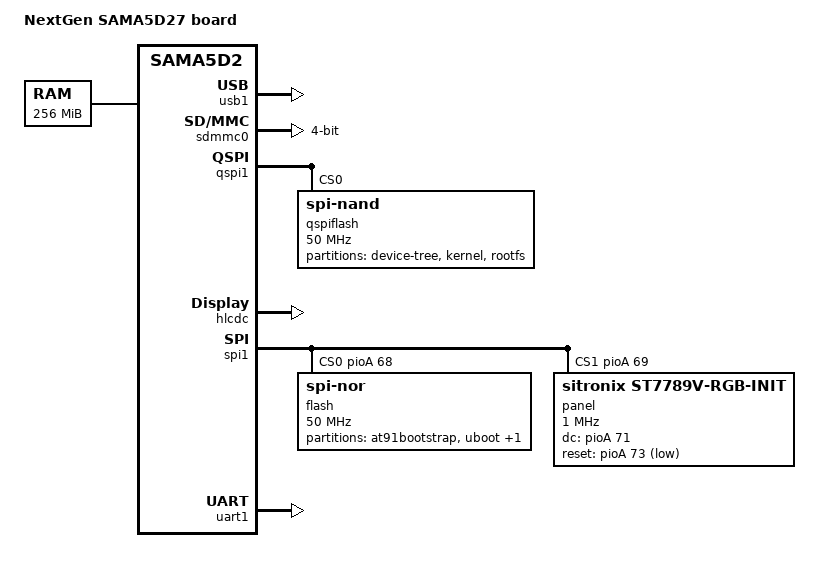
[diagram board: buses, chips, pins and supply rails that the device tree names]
/*
* at91-sama5d27_som1_ek.dts - Device Tree file for SAMA5D27 SOM1 EK board
*
*  Copyright (C) 2017 Microchip Corporation
*                     Wenyou Yang <wenyou.yang@microchip.com>
*
* This file is dual-licensed: you can use it either under the terms
* of the GPL or the X11 license, at your option. Note that this dual
* licensing only applies to this file, and not this project as a
* whole.
*
*  a) This file is free software; you can redistribute it and/or
*     modify it under the terms of the GNU General Public License as
*     published by the Free Software Foundation; either version 2 of the
*     License, or (at your option) any later version.
*
*     This file is distributed in the hope that it will be useful,
*     but WITHOUT ANY WARRANTY; without even the implied warranty of
*     MERCHANTABILITY or FITNESS FOR A PARTICULAR PURPOSE.  See the
*     GNU General Public License for more details.
*
* Or, alternatively,
*
*  b) Permission is hereby granted, free of charge, to any person
*     obtaining a copy of this software and associated documentation
*     files (the "Software"), to deal in the Software without
*     restriction, including without limitation the rights to use,
*     copy, modify, merge, publish, distribute, sublicense, and/or
*     sell copies of the Software, and to permit persons to whom the
*     Software is furnished to do so, subject to the following
*     conditions:
*
*     The above copyright notice and this permission notice shall be
*     included in all copies or substantial portions of the Software.
*
*     THE SOFTWARE IS PROVIDED "AS IS", WITHOUT WARRANTY OF ANY KIND,
*     EXPRESS OR IMPLIED, INCLUDING BUT NOT LIMITED TO THE WARRANTIES
*     OF MERCHANTABILITY, FITNESS FOR A PARTICULAR PURPOSE AND
*     NONINFRINGEMENT. IN NO EVENT SHALL THE AUTHORS OR COPYRIGHT
*     HOLDERS BE LIABLE FOR ANY CLAIM, DAMAGES OR OTHER LIABILITY,
*     WHETHER IN AN ACTION OF CONTRACT, TORT OR OTHERWISE, ARISING
*     FROM, OUT OF OR IN CONNECTION WITH THE SOFTWARE OR THE USE OR
*     OTHER DEALINGS IN THE SOFTWARE.
*/
/dts-v1/;
#include <dt-bindings/gpio/gpio.h>
#include "sama5d27_som1.dtsi"

/ {
	model = "NextGen SAMA5D27 board";
	compatible = "nextgen,sama5d27-nextgen","atmel,sama5d27-som1-ek", "atmel,sama5d2", "atmel,sama5";
	
	aliases {
		spi1 = &spi1;
		qspi1 = &qspi1;
		i2c0 = &i2c0;
		i2c1 = &i2c1;
		
	};
	
	chosen {
		bootph-all;
		stdout-path = &uart1;
	};
	
	memory {
		reg = <0x20000000 0x10000000>;
	};
	
	ahb {
		usb1: ohci@400000 {
			num-ports = <3>;
			atmel,vbus-gpio = <&pioA 42 0>;
			pinctrl-names = "default";
			pinctrl-0 = <&pinctrl_usb_default>;
			status = "okay";
		};
		
		usb2: ehci@500000 {
			status = "disabled";
		};
		
		
		sdmmc0: sdio-host@a0000000 {
			bus-width = <4>;
			pinctrl-names = "default";
			pinctrl-0 = <&pinctrl_sdmmc0_default>;
			status = "okay";
			bootph-all;
		};
		
		sdmmc1: sdio-host@b0000000 {
			status = "disabled";
			bootph-all;
		};
		
		apb {
			qspi1: spi@f0024000 {
				pinctrl-names = "default";
				pinctrl-0 = <&pinctrl_qspi1_default>;
				status = "okay";
				bootph-all;
				qspiflash@0 {
					compatible = "spi-nand";
					reg = <0>;
					spi-max-frequency = <50000000>;
					spi-rx-bus-width = <4>;
					spi-tx-bus-width = <1>;
					partitions {
						compatible = "fixed-partitions";
						#address-cells = <1>;
						#size-cells = <1>;
						
						dtb@0 {
							label = "device-tree";
							reg = <0x00000000 0x00080000>;   /* 512 KiB */
						};
						
						kernel@80000 {
							label = "kernel";
							reg = <0x00080000 0x00800000>;   /* 8 MiB */
						};
						
						rootfs@880000 {
							label = "rootfs";
							reg = <0x00880000 0x1f780000>;
						};
					};
				};
			};
			
			hlcdc: hlcdc@f0000000 {
				atmel,vl-bpix = <4>;
				atmel,output-mode = <18>;  /* physical RGB666 bus */
				atmel,guard-time = <1>;
				pinctrl-names = "default";
				pinctrl-0 = <&pinctrl_lcd_base &pinctrl_lcd_pwm &pinctrl_lcd_rgb666>;
				status = "okay";
				bootph-all;
				
				display-timings {
					bootph-all;
					native-mode = <&timing0>;
					timing0: 240x320 {
						clock-frequency = <6400000>;
						hactive = <240>;
						vactive = <320>;
						
						hsync-len = <10>;
						hfront-porch = <6>;
						hback-porch = <10>;
						
						vfront-porch = <5>;
						vback-porch = <1>;
						vsync-len = <3>;
						
						hsync-active = <0>;
						vsync-active = <0>;
						de-active = <1>;
						pixelclk-active = <0>;
						
						bootph-all;
					};
				};
			};
			spi1: spi@fc000000 {
				status = "okay";
				bootph-all;
				
				pinctrl-names = "default";
				pinctrl-0 = <&pinctrl_spi1_default>;
				clocks = <&spi1_clk>;
				clock-names = "spi_clk";
				spi-max-frequency = <50000000>;
				cs-gpios = <&pioA 68 GPIO_ACTIVE_HIGH>, <&pioA 69 GPIO_ACTIVE_HIGH>;
				
				flash@0 {
					compatible = "jedec,spi-nor";
					reg = <0>;
					bootph-all;
					spi-max-frequency = <50000000>;
					
					partitions {
						compatible = "fixed-partitions";
						#address-cells = <1>;
						#size-cells = <1>;
						
						partition@0 {
							label = "at91bootstrap";
							reg = <0x0 0x8000>;
						};
						partition@8000 {
							label = "uboot";
							reg = <0x8000 0x138000>;
						};
						partition@140000 {
							label = "uboot-env";
							reg = <0x140000 0x020000>;
						};
					};
				};
				panel@1 {
					compatible = "sitronix,st7789v-rgb-init";
					reg = <1>;
					bootph-all;
					spi-max-frequency = <1000000>;
					
					dc-gpios = <&pioA 71 GPIO_ACTIVE_HIGH>;
					reset-gpios = <&pioA 73 GPIO_ACTIVE_LOW>;
				};
			};
			
			uart1: serial@f8020000 {
				pinctrl-names = "default";
				pinctrl-0 = <&pinctrl_uart1_default>;
				status = "okay";
				bootph-all;
			};
			
			pioA: pinctrl@fc038000 {
				pinctrl_spi1_default: spi1_default {
					pinmux = <PIN_PC1__SPI1_SPCK>,
					<PIN_PC2__SPI1_MOSI>,
					<PIN_PC3__SPI1_MISO>,
					<PIN_PC4__GPIO>,
					<PIN_PC5__GPIO>;
					/*,
					<PIN_PC4__GPIO>;
					<PIN_PC4__SPI1_NPCS0>;
					<PIN_PC5__SPI1_NPCS1>,
					<PIN_PC6__SPI1_NPCS2>;*/
					bias-disable;
					bootph-all;
				};
				pinctrl_qspi1_default: qspi1_default {
					pinmux = <PIN_PB5__QSPI1_SCK>,
					<PIN_PB6__QSPI1_CS>,
					<PIN_PB7__QSPI1_IO0>,
					<PIN_PB8__QSPI1_IO1>,
					<PIN_PB9__QSPI1_IO2>,
					<PIN_PB10__QSPI1_IO3>;
					bias-disable;
					bootph-all;
				};
				
				pinctrl_lcd_base: pinctrl_lcd_base {
					pinmux = <PIN_PC30__LCDVSYNC>,
					<PIN_PC31__LCDHSYNC>,
					<PIN_PC29__LCDDISP>,
					<PIN_PD1__LCDDEN>,
					<PIN_PD0__LCDPCK>;
					bias-disable;
				};
				
				pinctrl_lcd_pwm: pinctrl_lcd_pwm {
					pinmux = <PIN_PC28__LCDPWM>;
					bias-disable;
				};
				
				pinctrl_lcd_rgb666: pinctrl_lcd_rgb666 {
					pinmux = <PIN_PC10__LCDDAT2>,
					<PIN_PC11__LCDDAT3>,
					<PIN_PC12__LCDDAT4>,
					<PIN_PC13__LCDDAT5>,
					<PIN_PC14__LCDDAT6>,
					<PIN_PC15__LCDDAT7>,
					<PIN_PC16__LCDDAT10>,
					<PIN_PC17__LCDDAT11>,
					<PIN_PC18__LCDDAT12>,
					<PIN_PC19__LCDDAT13>,
					<PIN_PC20__LCDDAT14>,
					<PIN_PC21__LCDDAT15>,
					<PIN_PC22__LCDDAT18>,
					<PIN_PC23__LCDDAT19>,
					<PIN_PC24__LCDDAT20>,
					<PIN_PC25__LCDDAT21>,
					<PIN_PC26__LCDDAT22>,
					<PIN_PC27__LCDDAT23>;
					bias-disable;
				};
				
				pinctrl_sdmmc0_default: sdmmc0_default {
					cmd_dat {
						pinmux = <PIN_PA1__SDMMC0_CMD>,
						<PIN_PA2__SDMMC0_DAT0>,
						<PIN_PA3__SDMMC0_DAT1>,
						<PIN_PA4__SDMMC0_DAT2>,
						<PIN_PA5__SDMMC0_DAT3>;
						bias-pull-up;
						bootph-all;
					};
					
					ck_cd {
						pinmux = <PIN_PA0__SDMMC0_CK>,
						<PIN_PA13__SDMMC0_CD>;
						bias-disable;
						bootph-all;
					};
				};
				
				pinctrl_uart1_default: uart1_default {
					pinmux = <PIN_PD2__URXD1>,
					<PIN_PD3__UTXD1>;
					bias-disable;
					bootph-all;
				};
				
				pinctrl_usb_default: usb_default {
					pinmux = <PIN_PB10__GPIO>;
					bias-disable;
				};
				
				pinctrl_usba_vbus: usba_vbus {
					pinmux = <PIN_PA31__GPIO>;
					bias-disable;
				};
				
				pinctrl_onewire_tm_default: onewire_tm_default {
					pinmux = <PIN_PA17__GPIO>;
					bias-pull-up;
				};
			};
		};
	};
};
